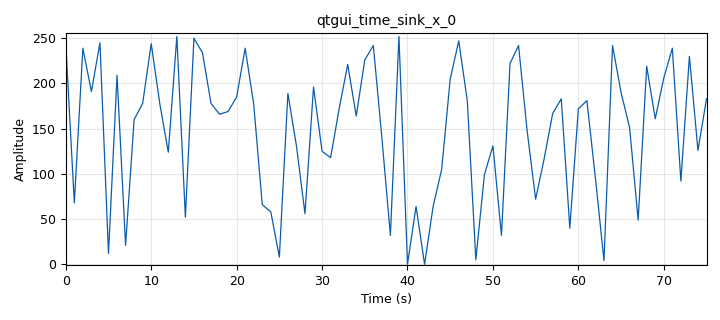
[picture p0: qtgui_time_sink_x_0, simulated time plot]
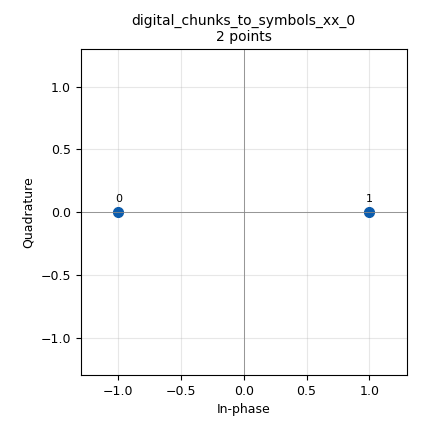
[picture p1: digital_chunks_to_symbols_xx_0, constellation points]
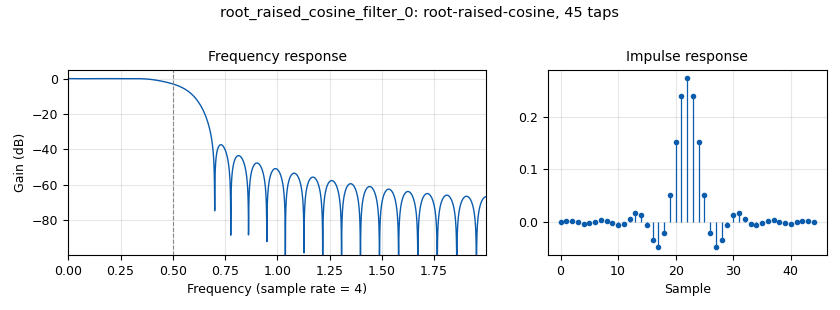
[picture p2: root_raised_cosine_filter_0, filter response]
options:
  parameters:
    generate_options: qt_gui
    id: aaa
    output_language: python
    title: workshop 4.3a
  states: {}

blocks:
- name: bps
  id: variable
  parameters:
    value: '1'
  states: {}
- name: constel
  id: variable_constellation
  parameters:
    precision: '8'
    type: bpsk
  states: {}
- name: excess_bw
  id: variable
  parameters:
    value: '0.35'
  states: {}
- name: header_format
  id: variable
  parameters:
    value: digital.header_format_default(preamble, threshold, bps)
  states: {}
- name: num_taps
  id: variable
  parameters:
    value: 11*sps
  states: {}
- name: preamble
  id: variable
  parameters:
    value: digital.packet_utils.default_access_code
  states: {}
- name: samp_rate
  id: variable
  parameters:
    value: 32*1000
  states: {}
- name: samp_rate_0
  id: variable
  parameters:
    value: 1100*1000
  states: {}
- name: sps
  id: variable
  parameters:
    value: '4'
  states: {}
- name: symb_rate
  id: variable
  parameters:
    value: 275*1000
  states: {}
- name: threshold
  id: variable
  parameters:
    value: '3'
  states: {}
- name: analog_const_source_x_0
  id: analog_const_source_x
  parameters:
    const: preamble
    type: byte
  states: {}
- name: analog_random_source_x_0
  id: analog_random_source_x
  parameters:
    max: '256'
    min: '0'
    num_samps: '1000'
    repeat: 'True'
    type: byte
  states: {}
- name: blocks_repack_bits_bb_0
  id: blocks_repack_bits_bb
  parameters:
    align_output: 'True'
    endianness: gr.GR_MSB_FIRST
    k: '1'
    l: '8'
  states: {}
- name: blocks_stream_to_tagged_stream_0
  id: blocks_stream_to_tagged_stream
  parameters:
    len_tag_key: '"packet_len"'
    packet_len: '64'
    type: byte
  states: {}
- name: blocks_tagged_stream_mux_0
  id: blocks_tagged_stream_mux
  parameters:
    lengthtagname: packet_len
    ninputs: '2'
    type: byte
  states: {}
- name: blocks_throttle_0
  id: blocks_throttle
  parameters:
    samples_per_second: samp_rate
    type: byte
  states: {}
- name: blocks_uchar_to_float_0
  id: blocks_uchar_to_float
  parameters: {}
  states: {}
- name: blocks_uchar_to_float_1
  id: blocks_uchar_to_float
  parameters: {}
  states: {}
- name: digital_chunks_to_symbols_xx_0
  id: digital_chunks_to_symbols_xx
  parameters:
    dimension: '1'
    in_type: byte
    out_type: complex
    symbol_table: constel.points()
  states: {}
- name: digital_correlate_access_code_xx_ts_0
  id: digital_correlate_access_code_xx_ts
  parameters:
    access_code: preamble
    threshold: threshold
    type: byte
  states: {}
- name: digital_protocol_formatter_bb_0
  id: digital_protocol_formatter_bb
  parameters:
    format: header_format
    len_tag_key: '"packet_len"'
  states: {}
- name: import_0
  id: import
  parameters: {}
  states: {}
- name: qtgui_time_sink_x_0
  id: qtgui_time_sink_x
  parameters:
    size: '76'
    srate: '1'
    tr_tag: '"packet_len"'
    type: float
    ymax: '256'
  states: {}
- name: qtgui_time_sink_x_0_0
  id: qtgui_time_sink_x
  parameters:
    size: '64'
    srate: '1'
    tr_tag: '"packet_len"'
    type: float
    ymax: '2'
    ymin: '-2'
  states: {}
- name: qtgui_time_sink_x_1
  id: qtgui_time_sink_x
  parameters:
    size: '1024'
    srate: samp_rate
    type: complex
  states: {}
- name: root_raised_cosine_filter_0
  id: root_raised_cosine_filter
  parameters:
    alpha: excess_bw
    gain: '1.0'
    interp: sps
    ntaps: num_taps
    samp_rate: sps
    sym_rate: '1.0'
    type: interp_fir_filter_ccf
  states: {}

connections:
- [analog_const_source_x_0, '0', digital_chunks_to_symbols_xx_0, '0']
- [analog_random_source_x_0, '0', blocks_stream_to_tagged_stream_0, '0']
- [blocks_repack_bits_bb_0, '0', blocks_uchar_to_float_1, '0']
- [blocks_stream_to_tagged_stream_0, '0', blocks_tagged_stream_mux_0, '1']
- [blocks_stream_to_tagged_stream_0, '0', digital_protocol_formatter_bb_0, '0']
- [blocks_tagged_stream_mux_0, '0', blocks_throttle_0, '0']
- [blocks_throttle_0, '0', blocks_uchar_to_float_0, '0']
- [blocks_throttle_0, '0', digital_correlate_access_code_xx_ts_0, '0']
- [blocks_uchar_to_float_0, '0', qtgui_time_sink_x_0, '0']
- [blocks_uchar_to_float_1, '0', qtgui_time_sink_x_0_0, '0']
- [digital_chunks_to_symbols_xx_0, '0', root_raised_cosine_filter_0, '0']
- [digital_correlate_access_code_xx_ts_0, '0', blocks_repack_bits_bb_0, '0']
- [digital_protocol_formatter_bb_0, '0', blocks_tagged_stream_mux_0, '0']
- [root_raised_cosine_filter_0, '0', qtgui_time_sink_x_1, '0']

metadata:
  file_format: 1
